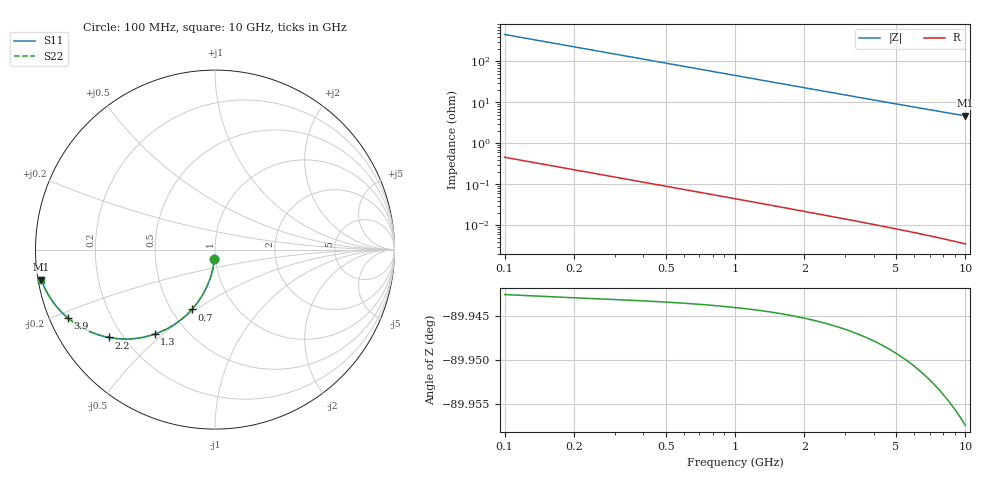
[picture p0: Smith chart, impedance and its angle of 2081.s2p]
# Hz S RI R 50.00
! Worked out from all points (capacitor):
!   100 points, 100 MHz to 10 GHz, reference 50 ohm
!   read as one part in shunt: C = 3.49 pF near 100 MHz
!   lowest |Z| = 4.72 ohm at 10 GHz (marker M1)
!   S11 on the Smith chart (normalised r, x): 100 MHz: 0.99, -0.11; 700 MHz: 0.63, -0.48; 1.3 GHz: 0.33, -0.47; 2.2 GHz: 0.15, -0.35; 3.9 GHz: 0.05, -0.22; 10 GHz: 0.01, -0.09
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1e8  -0.003 -0.0545  0.9969 -0.0547  0.9969 -0.0547  -0.003 -0.0545
2e8  -0.0119 -0.1081  0.988 -0.1084  0.988 -0.1084  -0.0119 -0.1081
3e8  -0.0264 -0.1598  0.9735 -0.1602  0.9735 -0.1602  -0.0264 -0.1598
4e8  -0.046 -0.2087  0.9539 -0.2093  0.9539 -0.2093  -0.046 -0.2087
5e8  -0.07 -0.2543  0.9299 -0.2551  0.9299 -0.2551  -0.07 -0.2543
6e8  -0.0977 -0.296  0.9022 -0.2969  0.9022 -0.2969  -0.0977 -0.296
7e8  -0.1284 -0.3336  0.8715 -0.3346  0.8715 -0.3346  -0.1284 -0.3336
8e8  -0.1613 -0.3668  0.8385 -0.368  0.8385 -0.368  -0.1613 -0.3668
1e9  -0.231 -0.4203  0.7689 -0.4218  0.7689 -0.4218  -0.231 -0.4203
1.3e9  -0.3367 -0.4711  0.6632 -0.4731  0.6632 -0.4731  -0.3367 -0.4711
1.5e9  -0.4032 -0.4889  0.5967 -0.4912  0.5967 -0.4912  -0.4032 -0.4889
1.8e9  -0.493 -0.4981  0.5069 -0.5008  0.5069 -0.5008  -0.493 -0.4981
2.2e9  -0.5922 -0.4892  0.4077 -0.4926  0.4077 -0.4926  -0.5922 -0.4892
2.5e9  -0.6522 -0.4738  0.3477 -0.4777  0.3477 -0.4777  -0.6522 -0.4738
2.8e9  -0.7016 -0.4549  0.2982 -0.4591  0.2982 -0.4591  -0.7016 -0.4549
3.4e9  -0.7762 -0.4137  0.2237 -0.4189  0.2237 -0.4189  -0.7762 -0.4137
3.9e9  -0.8202 -0.3805  0.1797 -0.3864  0.1797 -0.3864  -0.8202 -0.3805
4.5e9  -0.8587 -0.3443  0.1412 -0.3512  0.1412 -0.3512  -0.8587 -0.3443
5.1e9  -0.8864 -0.3127  0.1134 -0.3206  0.1134 -0.3206  -0.8864 -0.3127
6.7e9  -0.931 -0.2476  0.0688 -0.2579  0.0688 -0.2579  -0.931 -0.2476
8.4e9  -0.9551 -0.1998  0.0447 -0.2128  0.0447 -0.2128  -0.9551 -0.1998
1e10  -0.968 -0.1673  0.0317 -0.1829  0.0317 -0.1829  -0.968 -0.1673
